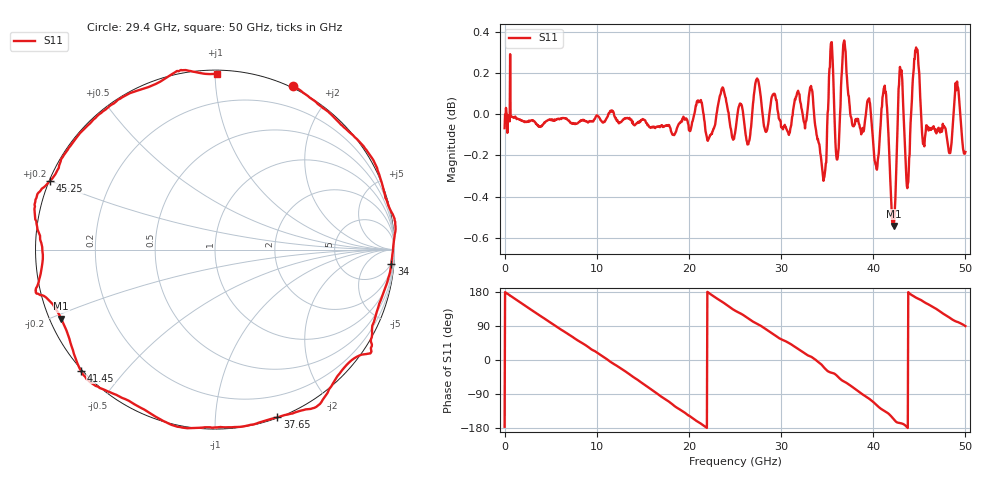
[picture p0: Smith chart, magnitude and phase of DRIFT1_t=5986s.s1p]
!Created with skrf (http://scikit-rf.org).
# Hz S RI R 50.0
!freq ReS11 ImS11
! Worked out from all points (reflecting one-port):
!   1001 points, 300 kHz to 50 GHz, reference 50 ohm
!   lowest |S11| = -0.5 dB at 42.2 GHz (marker M1), VSWR 32.03, Z = 1.63 - j10.7 ohm
!   phase of S11 starts at -176 deg and turns -814 deg over the sweep
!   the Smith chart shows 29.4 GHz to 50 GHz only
!   S11 on the Smith chart (normalised r, x): 29.4 GHz: -0.02, +1.59; 34 GHz: 4, -24; 37.65 GHz: 0.00, -1.44; 41.45 GHz: -0.00, -0.38; 45.25 GHz: 0.00, +0.20; 50 GHz: 0.02, +1.01
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300000  -0.99 -0.0665
1.550291e9  -0.8992 0.431
3.30028e9  -0.5811 0.8085
4.800271e9  -0.2001 0.9766
6.250262e9  0.2006 0.9775
9.500243e9  0.8895 0.4483
1.115023e10  0.9983 0.0215
1.250022e10  0.933 -0.347
1.580021e10  0.2432 -0.9624
1.73502e10  -0.208 -0.9714
1.875019e10  -0.594 -0.7956
2.155017e10  -0.9916 -0.137
2.350016e10  -0.9212 0.4207
2.500015e10  -0.6413 0.7534
2.735014e10  -0.1108 1.014
2.940012e10  0.437 0.9101
3.125011e10  0.7795 0.6253
3.40001e10  0.9831 -0.0781
3.525009e10  0.8736 -0.5377
3.750008e10  0.3894 -0.9217
3.765007e10  0.3474 -0.9348
3.950006e10  -0.1954 -0.9885
4.145005e10  -0.7469 -0.6744
4.220005e10  -0.8574 -0.384
4.375004e10  -0.9617 -0.00703
4.525003e10  -0.9171 0.3846
4.775001e10  -0.4963 0.86
5e10  0.00887 0.9792
